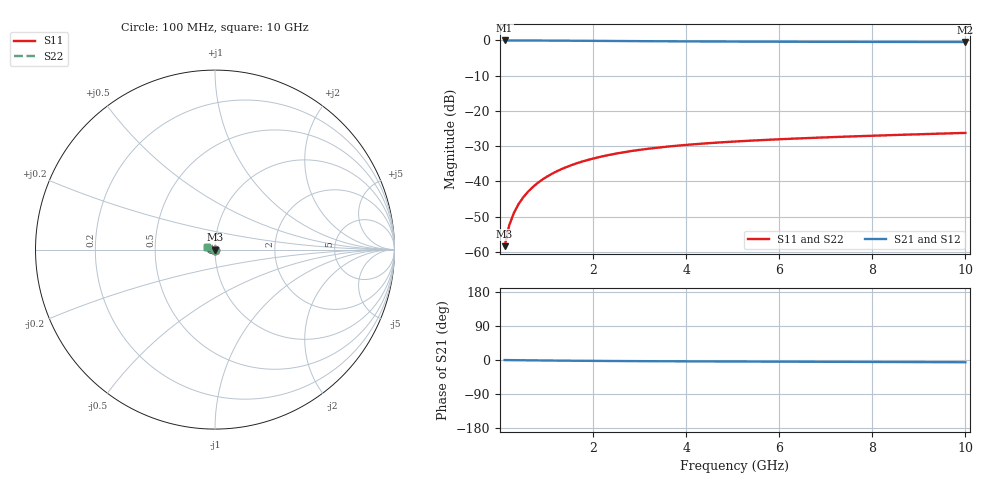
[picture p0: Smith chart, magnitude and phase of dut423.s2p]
! Touchstone file exported from HFSS 2024.1.0
!  File:  C:/UserFiles/LocalFiles/RDL_TSV_Batchsim/temp_TSV1_423_1779693658.aedt
!  Generated:  03:25:50 PM May 25, 2026
!  Design:  TSV1
!  Project:  temp_TSV1_423_1779693658
!  Setup:  Setup1
!  Solution:  Sweep
! Variables:
!  dtsv = 9.17um
!  hbump = 3um
!  htsv = 91.65um
!  lrdl = 252.1521522um
!  p = 40
!  p1 = 55.9um
!  t = 500um
!  trdl = 3um
!  wrdl = 24.89489489um
# GHz S MA R 50.000000
! Terminal data exported
! Port[1] = TSV22_T1
! Port[2] = TSV22_T2
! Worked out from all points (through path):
!   100 points, 100 MHz to 10 GHz, reference 50 ohm
!   highest |S21| = 0.00 dB at 100 MHz (marker M1); lowest = -0.4 dB at 10 GHz (marker M2)
!   lowest |S11| = -58.4 dB at 100 MHz (marker M3), VSWR 1.00, Z = 50 - j0.12 ohm
!   |S11| at or under -10 dB: start of sweep to end of sweep
!   |S22| runs from -58.4 to -26.2 dB; largest |S21 - S12| = 3e-15
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0.1  0.001207 -83.1  0.9998 -0.1  0.9998 -0.1  0.001207 -83.1
! Gamma 0 0 0 0
! Port Impedance 50 0 50 0
0.2  0.002395 -89.4  0.9996 -0.3  0.9996 -0.3  0.002395 -89.4
0.3  0.003586 -92.9  0.9994 -0.4  0.9994 -0.4  0.003586 -92.9
0.4  0.004773 -95.6  0.9991 -0.5  0.9991 -0.5  0.004773 -95.6
0.5  0.005951 -98.1  0.9987 -0.7  0.9987 -0.7  0.005951 -98.1
0.6  0.007116 -100.4  0.9982 -0.8  0.9982 -0.8  0.007116 -100.4
0.7  0.008266 -102.6  0.9977 -0.9  0.9977 -0.9  0.008266 -102.6
0.8  0.009398 -104.8  0.9971 -1.1  0.9971 -1.1  0.009398 -104.8
0.9  0.01051 -106.9  0.9965 -1.2  0.9965 -1.2  0.01051 -106.9
1.1  0.01267 -110.9  0.995 -1.4  0.995 -1.4  0.01267 -110.9
1.4  0.01572 -116.6  0.9925 -1.8  0.9925 -1.8  0.01572 -116.6
1.6  0.01763 -120.3  0.9906 -2.0  0.9906 -2.0  0.01763 -120.3
1.8  0.01942 -123.8  0.9887 -2.1  0.9887 -2.1  0.01942 -123.8
2.1  0.02191 -128.8  0.9858 -2.4  0.9858 -2.4  0.02191 -128.8
2.5  0.02486 -135.0  0.982 -2.7  0.982 -2.7  0.02486 -135.0
2.9  0.02744 -140.7  0.9783 -3.0  0.9783 -3.0  0.02744 -140.7
3.4  0.0302 -147.2  0.9741 -3.3  0.9741 -3.3  0.0302 -147.2
4.2  0.0338 -156.3  0.9684 -3.6  0.9684 -3.6  0.0338 -156.3
5.1  0.037 -165.1  0.9633 -4.0  0.9633 -4.0  0.037 -165.1
6.7  0.04145 -177.8  0.9569 -4.6  0.9569 -4.6  0.04145 -177.8
8.4  0.04538 171.3  0.9526 -5.3  0.9526 -5.3  0.04538 171.3
10  0.04881 162.8  0.9497 -5.9  0.9497 -5.9  0.04881 162.8
